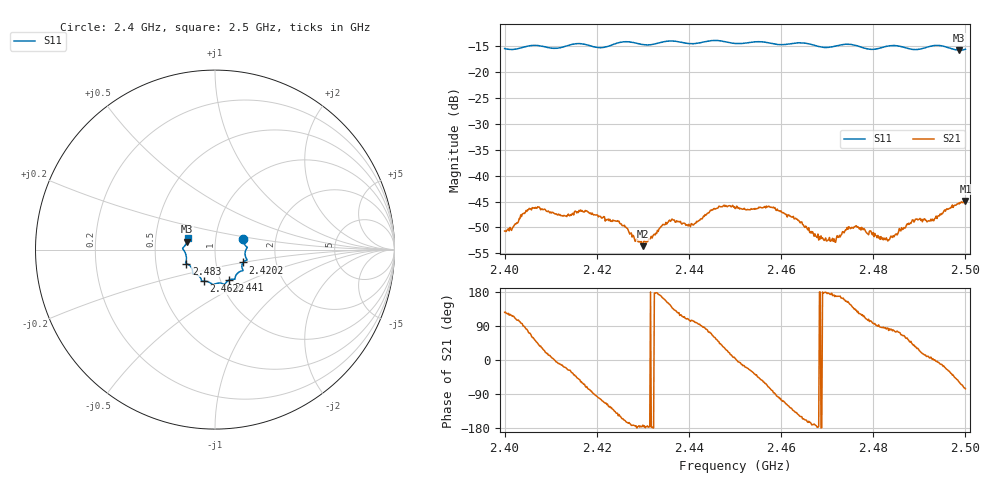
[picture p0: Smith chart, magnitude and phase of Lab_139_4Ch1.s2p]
# Hz S RI R 50
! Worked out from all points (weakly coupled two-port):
!   601 points, 2.4 GHz to 2.5 GHz, reference 50 ohm
!   highest |S21| = -44.90 dB at 2.5 GHz (marker M1); lowest = -53.6 dB at 2.43 GHz (marker M2)
!   lowest |S11| = -15.8 dB at 2.4987 GHz (marker M3), VSWR 1.39, Z = 36.4 + j3.29 ohm
!   |S11| at or under -10 dB: start of sweep to end of sweep
!   S12 and S22 are empty: the file has one direction only
!   S11 on the Smith chart (normalised r, x): 2.4 GHz: 1.36, +0.17; 2.4202 GHz: 1.35, -0.20; 2.441 GHz: 1.10, -0.39; 2.4622 GHz: 0.83, -0.30; 2.483 GHz: 0.72, -0.12; 2.5 GHz: 0.73, +0.09
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2.4e9  0.1565 0.0604  -0.00171 0.00237  0 0  0 0
2.405833e9  0.1791 0.014  0.00211 0.00416  0 0  0 0
2.413e9  0.1709 -0.0411  0.0039 -0.00132  0 0  0 0
2.416667e9  0.1775 -0.0582  0.00247 -0.00381  0 0  0 0
2.420167e9  0.1563 -0.0717  -0.000559 -0.00413  0 0  0 0
2.424833e9  0.1553 -0.1122  -0.00293 -0.00214  0 0  0 0
2.43e9  0.1344 -0.1248  -0.00207 -0.000296  0 0  0 0
2.433333e9  0.1129 -0.1523  -0.00287 0.000334  0 0  0 0
2.436167e9  0.1103 -0.1652  -0.0029 0.00231  0 0  0 0
2.441e9  0.0769 -0.1705  -0.000689 0.00327  0 0  0 0
2.445167e9  0.0539 -0.1933  0.002 0.00421  0 0  0 0
2.45e9  0.0266 -0.1863  0.00481 0.000394  0 0  0 0
2.457833e9  -0.0237 -0.1872  0.000986 -0.00486  0 0  0 0
2.462167e9  -0.0629 -0.1762  -0.0024 -0.00322  0 0  0 0
2.466667e9  -0.0765 -0.167  -0.00276 -0.000427  0 0  0 0
2.471333e9  -0.109 -0.1376  -0.00229 0.00039  0 0  0 0
2.476333e9  -0.1253 -0.1284  -0.00218 0.00246  0 0  0 0
2.483e9  -0.1588 -0.0778  0.000254 0.0024  0 0  0 0
2.483333e9  -0.1603 -0.077  0.000502 0.00235  0 0  0 0
2.489e9  -0.1601 -0.0356  0.00298 0.00214  0 0  0 0
2.498667e9  -0.1558 0.044  0.00279 -0.00454  0 0  0 0
2.5e9  -0.153 0.0626  0.00138 -0.00552  0 0  0 0
